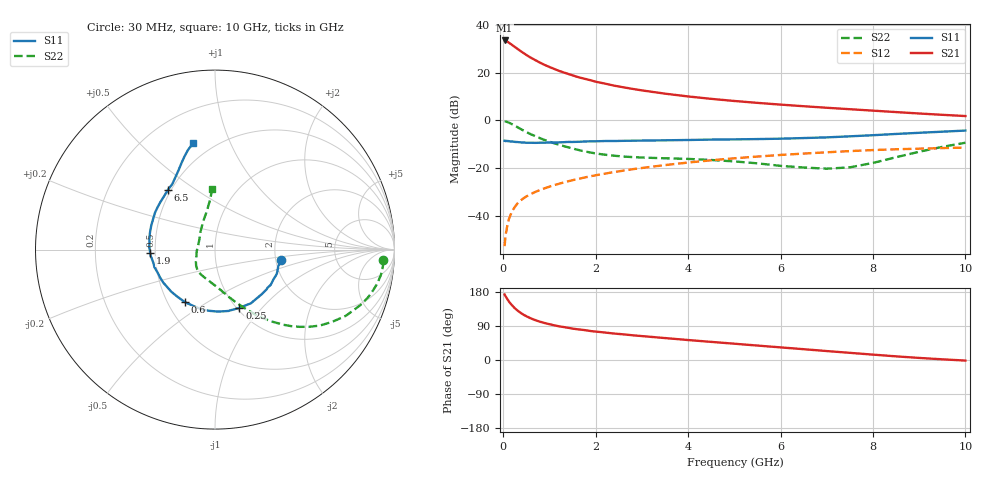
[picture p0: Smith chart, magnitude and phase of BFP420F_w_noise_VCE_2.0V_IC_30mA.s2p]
! Infineon Technologies  Discrete & RF Semiconductors
! BFP420F
! VCE =  2.0 V,  IC =  30 mA
! Common Emitter S-Parameters:  Sep 2011
# GHz  S  MA  R  50
!  f  S11  S21  S12  S22
! GHz  MAG  ANG  MAG  ANG  MAG  ANG  MAG  ANG
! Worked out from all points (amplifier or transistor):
!   54 points, 30 MHz to 10 GHz, reference 50 ohm
!   highest |S21| = 33.4 dB at 30 MHz (marker M1)
!   |S21| within 3 dB of that: start of sweep to 271 MHz
!   unconditionally stable (mu >= 1): 1.454 GHz to end of sweep
!   at 120 MHz: K = 0.33, MSG = 37.1 dB, |S12| = -41.7 dB
!   at 1.3 GHz: K = 0.97, MSG = 23.1 dB, |S12| = -26.1 dB
!   at 10 GHz: K = 1.22, MAG = 3.8 dB, |S12| = -11.5 dB
!   lowest NFmin = 1.81 dB at 450 MHz
!   S11 on the Smith chart (normalised r, x): 30 MHz: 2.14, -0.29; 250 MHz: 1.03, -0.76; 600 MHz: 0.61, -0.40; 1.9 GHz: 0.47, -0.02; 6.5 GHz: 0.48, +0.39; 10 GHz: 0.39, +0.74
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0.03  0.3727 -9.0  46.92 172.9  0.0023 91.6  0.94 -3.7
0.07  0.3698 -21.3  45.42 164.5  0.0048 84.9  0.929 -10.3
0.12  0.3619 -35.6  42.5 154.8  0.0082 79.6  0.8919 -17.5
0.15  0.3599 -43.7  40.43 150.1  0.01 78.1  0.8644 -21.2
0.2  0.3598 -56.2  37.33 143.1  0.0127 75.0  0.8166 -26.9
0.25  0.3518 -67.3  34.3 136.8  0.0152 72.3  0.7665 -31.7
0.3  0.3499 -77.8  31.78 131.4  0.0177 70.4  0.7218 -35.9
0.4  0.3426 -94.9  27.07 122.5  0.0217 67.8  0.637 -42.5
0.5  0.3374 -108.4  23.36 115.5  0.0253 66.1  0.5661 -47.7
0.6  0.3373 -119.7  20.34 109.7  0.0285 65.1  0.507 -52.0
0.8  0.3382 -136.2  16.03 100.8  0.0346 64.4  0.4194 -58.7
1  0.3419 -147.7  13.05 94.5  0.0406 64.4  0.3554 -64.2
1.3  0.3465 -160.3  10.08 87.1  0.0495 64.0  0.2889 -71.6
1.7  0.3559 -172.2  7.643 79.8  0.0612 63.4  0.2291 -81.5
1.9  0.3623 -177.1  6.839 76.3  0.0674 63.0  0.2095 -86.6
2.6  0.3702 171.3  4.896 67.7  0.088 60.6  0.1735 -103.4
3.5  0.3799 159.0  3.605 57.9  0.115 56.3  0.1595 -119.2
5.5  0.403 139.2  2.31 38.1  0.1735 43.9  0.125 -148.6
6.5  0.4233 128.4  1.966 28.5  0.2002 37.2  0.1023 -175.3
7  0.4374 122.7  1.825 23.6  0.213 33.7  0.0965 167.1
8.5  0.516 111.3  1.482 9.6  0.2463 22.6  0.1679 113.4
10  0.6077 101.4  1.224 -1.5  0.2676 13.3  0.3377 92.6
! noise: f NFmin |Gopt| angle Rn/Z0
0.45  1.81  0.29  -175  0.14
0.9  1.82  0.3  -173  0.14
1.9  1.95  0.35  -164  0.14
2.4  2.01  0.35  -158  0.12
3.5  2.25  0.35  -146  0.18
